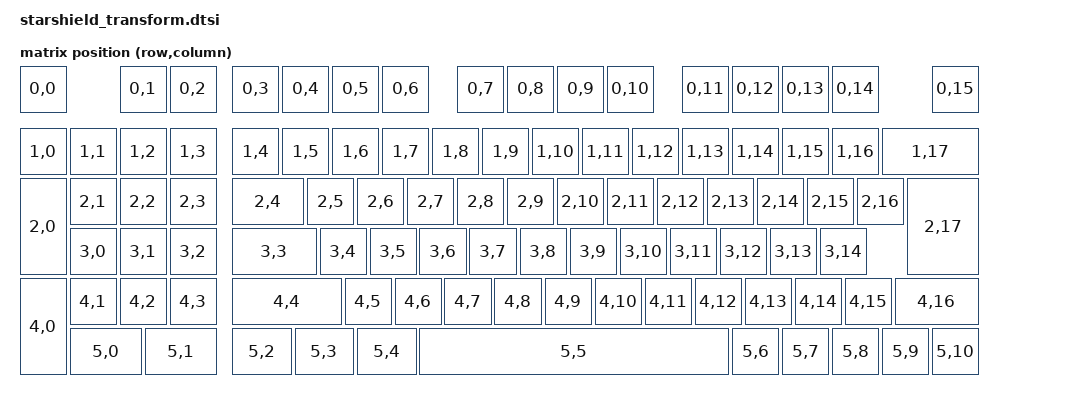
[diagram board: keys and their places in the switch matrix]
/*
 * StarShield 键位映射表 + 物理布局（自动生成，请勿手改）
 *
 * 生成源：docs/_generated/matrix.json
 * 生成脚本：docs/_tools/gen_transform.mjs
 * 说明文档：docs/matrix-assignment.md
 *
 * 位置号按【物理顺序】排列（KLE 的 y 从上到下，同一行内按开关中心 x 从左到右），
 * 因此 keymap 里第 0 个键就是键盘左上角那个键。
 *
 * 矩阵：6 行 × 18 列，键数 95
 *
 * ⚠️ 采用 ZMK 的 physical-layout 模型（官方 physical-layouts.md）：
 *    - physical_layout0 聚合 kscan + matrix transform + 可选按键物理位置
 *    - keys 属性（centi-keyunit）是 ZMK Studio 支持所必需的
 *    旧式 chosen { zmk,matrix-transform = ... } 已不再使用。
 */

#include <physical_layouts.dtsi>
#include <dt-bindings/zmk/matrix_transform.h>

/ {
    physical_layout0: physical_layout_0 {
        compatible = "zmk,physical-layout";
        display-name = "StarShield 95";

        /* 取 KLE 坐标 ×100 得 centi-keyunit；顺序与 keymap 绑定严格一致 */
        keys  //                  w    h     x     y   rot  rx  ry
            = <&key_physical_attrs 100 100   25    0     0   0   0>   /*  0 Esc */
            , <&key_physical_attrs 100 100  225    0     0   0   0>   /*  1 FN */
            , <&key_physical_attrs 100 100  325    0     0   0   0>   /*  2 Num Lock */
            , <&key_physical_attrs 100 100  450    0     0   0   0>   /*  3 F1 */
            , <&key_physical_attrs 100 100  550    0     0   0   0>   /*  4 F2 */
            , <&key_physical_attrs 100 100  650    0     0   0   0>   /*  5 F3 */
            , <&key_physical_attrs 100 100  750    0     0   0   0>   /*  6 F4 */
            , <&key_physical_attrs 100 100  900    0     0   0   0>   /*  7 F5 */
            , <&key_physical_attrs 100 100 1000    0     0   0   0>   /*  8 F6 */
            , <&key_physical_attrs 100 100 1100    0     0   0   0>   /*  9 F7 */
            , <&key_physical_attrs 100 100 1200    0     0   0   0>   /* 10 F8 */
            , <&key_physical_attrs 100 100 1350    0     0   0   0>   /* 11 F9 */
            , <&key_physical_attrs 100 100 1450    0     0   0   0>   /* 12 F10 */
            , <&key_physical_attrs 100 100 1550    0     0   0   0>   /* 13 F11 */
            , <&key_physical_attrs 100 100 1650    0     0   0   0>   /* 14 F12 */
            , <&key_physical_attrs 100 100 1850    0     0   0   0>   /* 15 Delete */
            , <&key_physical_attrs 100 100   25  125     0   0   0>   /* 16 / */
            , <&key_physical_attrs 100 100  125  125     0   0   0>   /* 17 * */
            , <&key_physical_attrs 100 100  225  125     0   0   0>   /* 18 - */
            , <&key_physical_attrs 100 100  325  125     0   0   0>   /* 19 + */
            , <&key_physical_attrs 100 100  450  125     0   0   0>   /* 20 ~/` */
            , <&key_physical_attrs 100 100  550  125     0   0   0>   /* 21 !/1 */
            , <&key_physical_attrs 100 100  650  125     0   0   0>   /* 22 @/2 */
            , <&key_physical_attrs 100 100  750  125     0   0   0>   /* 23 #/3 */
            , <&key_physical_attrs 100 100  850  125     0   0   0>   /* 24 $/4 */
            , <&key_physical_attrs 100 100  950  125     0   0   0>   /* 25 %/5 */
            , <&key_physical_attrs 100 100 1050  125     0   0   0>   /* 26 ^/6 */
            , <&key_physical_attrs 100 100 1150  125     0   0   0>   /* 27 &/7 */
            , <&key_physical_attrs 100 100 1250  125     0   0   0>   /* 28 * /8 */
            , <&key_physical_attrs 100 100 1350  125     0   0   0>   /* 29 (/9 */
            , <&key_physical_attrs 100 100 1450  125     0   0   0>   /* 30 )/0 */
            , <&key_physical_attrs 100 100 1550  125     0   0   0>   /* 31 _/- */
            , <&key_physical_attrs 100 100 1650  125     0   0   0>   /* 32 +/= */
            , <&key_physical_attrs 200 100 1750  125     0   0   0>   /* 33 Back Space */
            , <&key_physical_attrs 100 200   25  225     0   0   0>   /* 34 Delete */
            , <&key_physical_attrs 100 100  125  225     0   0   0>   /* 35 7/Home */
            , <&key_physical_attrs 100 100  225  225     0   0   0>   /* 36 8/↑ */
            , <&key_physical_attrs 100 100  325  225     0   0   0>   /* 37 9/PgUp */
            , <&key_physical_attrs 150 100  450  225     0   0   0>   /* 38 Tab */
            , <&key_physical_attrs 100 100  600  225     0   0   0>   /* 39 Q */
            , <&key_physical_attrs 100 100  700  225     0   0   0>   /* 40 W */
            , <&key_physical_attrs 100 100  800  225     0   0   0>   /* 41 E */
            , <&key_physical_attrs 100 100  900  225     0   0   0>   /* 42 R */
            , <&key_physical_attrs 100 100 1000  225     0   0   0>   /* 43 T */
            , <&key_physical_attrs 100 100 1100  225     0   0   0>   /* 44 Y */
            , <&key_physical_attrs 100 100 1200  225     0   0   0>   /* 45 U */
            , <&key_physical_attrs 100 100 1300  225     0   0   0>   /* 46 I */
            , <&key_physical_attrs 100 100 1400  225     0   0   0>   /* 47 O */
            , <&key_physical_attrs 100 100 1500  225     0   0   0>   /* 48 P */
            , <&key_physical_attrs 100 100 1600  225     0   0   0>   /* 49 {/[ */
            , <&key_physical_attrs 100 100 1700  225     0   0   0>   /* 50 }/] */
            , <&key_physical_attrs 150 200 1800  225     0   0   0>   /* 51 Enter */
            , <&key_physical_attrs 100 100  125  325     0   0   0>   /* 52 4/← */
            , <&key_physical_attrs 100 100  225  325     0   0   0>   /* 53 5 */
            , <&key_physical_attrs 100 100  325  325     0   0   0>   /* 54 6/→ */
            , <&key_physical_attrs 175 100  450  325     0   0   0>   /* 55 Caps Lock */
            , <&key_physical_attrs 100 100  625  325     0   0   0>   /* 56 A */
            , <&key_physical_attrs 100 100  725  325     0   0   0>   /* 57 S */
            , <&key_physical_attrs 100 100  825  325     0   0   0>   /* 58 D */
            , <&key_physical_attrs 100 100  925  325     0   0   0>   /* 59 F */
            , <&key_physical_attrs 100 100 1025  325     0   0   0>   /* 60 G */
            , <&key_physical_attrs 100 100 1125  325     0   0   0>   /* 61 H */
            , <&key_physical_attrs 100 100 1225  325     0   0   0>   /* 62 J */
            , <&key_physical_attrs 100 100 1325  325     0   0   0>   /* 63 K */
            , <&key_physical_attrs 100 100 1425  325     0   0   0>   /* 64 L */
            , <&key_physical_attrs 100 100 1525  325     0   0   0>   /* 65 :/; */
            , <&key_physical_attrs 100 100 1625  325     0   0   0>   /* 66 "/' */
            , <&key_physical_attrs 100 200   25  425     0   0   0>   /* 67 Enter */
            , <&key_physical_attrs 100 100  125  425     0   0   0>   /* 68 1/End */
            , <&key_physical_attrs 100 100  225  425     0   0   0>   /* 69 2/↓ */
            , <&key_physical_attrs 100 100  325  425     0   0   0>   /* 70 3/PgDn */
            , <&key_physical_attrs 225 100  450  425     0   0   0>   /* 71 Shift */
            , <&key_physical_attrs 100 100  675  425     0   0   0>   /* 72 Z */
            , <&key_physical_attrs 100 100  775  425     0   0   0>   /* 73 X */
            , <&key_physical_attrs 100 100  875  425     0   0   0>   /* 74 C */
            , <&key_physical_attrs 100 100  975  425     0   0   0>   /* 75 V */
            , <&key_physical_attrs 100 100 1075  425     0   0   0>   /* 76 B */
            , <&key_physical_attrs 100 100 1175  425     0   0   0>   /* 77 N */
            , <&key_physical_attrs 100 100 1275  425     0   0   0>   /* 78 M */
            , <&key_physical_attrs 100 100 1375  425     0   0   0>   /* 79 </, */
            , <&key_physical_attrs 100 100 1475  425     0   0   0>   /* 80 >/. */
            , <&key_physical_attrs 100 100 1575  425     0   0   0>   /* 81 ?// */
            , <&key_physical_attrs 100 100 1675  425     0   0   0>   /* 82 ↑ */
            , <&key_physical_attrs 175 100 1775  425     0   0   0>   /* 83 Shift */
            , <&key_physical_attrs 150 100  125  525     0   0   0>   /* 84 0/Ins */
            , <&key_physical_attrs 150 100  275  525     0   0   0>   /* 85 ./Del */
            , <&key_physical_attrs 125 100  450  525     0   0   0>   /* 86 Ctrl */
            , <&key_physical_attrs 125 100  575  525     0   0   0>   /* 87 Win */
            , <&key_physical_attrs 125 100  700  525     0   0   0>   /* 88 Alt */
            , <&key_physical_attrs 625 100  825  525     0   0   0>   /* 89 Space */
            , <&key_physical_attrs 100 100 1450  525     0   0   0>   /* 90 |/\ */
            , <&key_physical_attrs 100 100 1550  525     0   0   0>   /* 91 ← */
            , <&key_physical_attrs 100 100 1650  525     0   0   0>   /* 92 ↓ */
            , <&key_physical_attrs 100 100 1750  525     0   0   0>   /* 93 → */
            , <&key_physical_attrs 100 100 1850  525     0   0   0>   /* 94 Ctrl */
            ;
    };
};

&physical_layout0 {
    transform = <&default_transform>;
};

/ {
    /*
     * 矩阵转换表：位置号 -> 矩阵格 (行, 列)。
     * 宏 RC(row, col) 来自 <dt-bindings/zmk/matrix_transform.h>。
     *
     * ⚠️ 必须用「节点定义」形式（label: node { ... }）而不是 &label { ... }：
     *    后者是 fragment 覆写，对【尚未定义】的新标签无效。
     */
    default_transform: keymap_transform_0 {
        compatible = "zmk,matrix-transform";
        columns = <18>;
        rows = <6>;
        map = <
            RC(0, 0)  RC(0, 1)  RC(0, 2)  RC(0, 3)  RC(0, 4)  RC(0, 5)   /*  0- 5  Esc | FN | Num Lock | F1 | F2 | F3 */
            RC(0, 6)  RC(0, 7)  RC(0, 8)  RC(0, 9)  RC(0,10)  RC(0,11)   /*  6-11  F4 | F5 | F6 | F7 | F8 | F9 */
            RC(0,12)  RC(0,13)  RC(0,14)  RC(0,15)  RC(1, 0)  RC(1, 1)   /* 12-17  F10 | F11 | F12 | Delete | / | * */
            RC(1, 2)  RC(1, 3)  RC(1, 4)  RC(1, 5)  RC(1, 6)  RC(1, 7)   /* 18-23  - | + | ~/` | !/1 | @/2 | #/3 */
            RC(1, 8)  RC(1, 9)  RC(1,10)  RC(1,11)  RC(1,12)  RC(1,13)   /* 24-29  $/4 | %/5 | ^/6 | &/7 | * /8 | (/9 */
            RC(1,14)  RC(1,15)  RC(1,16)  RC(1,17)  RC(2, 0)  RC(2, 1)   /* 30-35  )/0 | _/- | +/= | Back Space | Delete | 7/Home */
            RC(2, 2)  RC(2, 3)  RC(2, 4)  RC(2, 5)  RC(2, 6)  RC(2, 7)   /* 36-41  8/↑ | 9/PgUp | Tab | Q | W | E */
            RC(2, 8)  RC(2, 9)  RC(2,10)  RC(2,11)  RC(2,12)  RC(2,13)   /* 42-47  R | T | Y | U | I | O */
            RC(2,14)  RC(2,15)  RC(2,16)  RC(2,17)  RC(3, 0)  RC(3, 1)   /* 48-53  P | {/[ | }/] | Enter | 4/← | 5 */
            RC(3, 2)  RC(3, 3)  RC(3, 4)  RC(3, 5)  RC(3, 6)  RC(3, 7)   /* 54-59  6/→ | Caps Lock | A | S | D | F */
            RC(3, 8)  RC(3, 9)  RC(3,10)  RC(3,11)  RC(3,12)  RC(3,13)   /* 60-65  G | H | J | K | L | :/; */
            RC(3,14)  RC(4, 0)  RC(4, 1)  RC(4, 2)  RC(4, 3)  RC(4, 4)   /* 66-71  "/' | Enter | 1/End | 2/↓ | 3/PgDn | Shift */
            RC(4, 5)  RC(4, 6)  RC(4, 7)  RC(4, 8)  RC(4, 9)  RC(4,10)   /* 72-77  Z | X | C | V | B | N */
            RC(4,11)  RC(4,12)  RC(4,13)  RC(4,14)  RC(4,15)  RC(4,16)   /* 78-83  M | </, | >/. | ?// | ↑ | Shift */
            RC(5, 0)  RC(5, 1)  RC(5, 2)  RC(5, 3)  RC(5, 4)  RC(5, 5)   /* 84-89  0/Ins | ./Del | Ctrl | Win | Alt | Space */
            RC(5, 6)  RC(5, 7)  RC(5, 8)  RC(5, 9)  RC(5,10)   /* 90-94  |/\ | ← | ↓ | → | Ctrl */
        >;
    };
};

/* 完整对照：位置号 → (行, 列) → 键位
 *    0  RC(0,  0)  Esc   [x=0.750u y=0u]
 *    1  RC(0,  1)  FN   [x=2.750u y=0u]
 *    2  RC(0,  2)  Num Lock   [x=3.750u y=0u]
 *    3  RC(0,  3)  F1   [x=5.000u y=0u]
 *    4  RC(0,  4)  F2   [x=6.000u y=0u]
 *    5  RC(0,  5)  F3   [x=7.000u y=0u]
 *    6  RC(0,  6)  F4   [x=8.000u y=0u]
 *    7  RC(0,  7)  F5   [x=9.500u y=0u]
 *    8  RC(0,  8)  F6   [x=10.500u y=0u]
 *    9  RC(0,  9)  F7   [x=11.500u y=0u]
 *   10  RC(0, 10)  F8   [x=12.500u y=0u]
 *   11  RC(0, 11)  F9   [x=14.000u y=0u]
 *   12  RC(0, 12)  F10   [x=15.000u y=0u]
 *   13  RC(0, 13)  F11   [x=16.000u y=0u]
 *   14  RC(0, 14)  F12   [x=17.000u y=0u]
 *   15  RC(0, 15)  Delete   [x=19.000u y=0u]
 *   16  RC(1,  0)  /   [x=0.750u y=1.25u]
 *   17  RC(1,  1)  *   [x=1.750u y=1.25u]
 *   18  RC(1,  2)  -   [x=2.750u y=1.25u]
 *   19  RC(1,  3)  +   [x=3.750u y=1.25u]
 *   20  RC(1,  4)  ~/`   [x=5.000u y=1.25u]
 *   21  RC(1,  5)  !/1   [x=6.000u y=1.25u]
 *   22  RC(1,  6)  @/2   [x=7.000u y=1.25u]
 *   23  RC(1,  7)  #/3   [x=8.000u y=1.25u]
 *   24  RC(1,  8)  $/4   [x=9.000u y=1.25u]
 *   25  RC(1,  9)  %/5   [x=10.000u y=1.25u]
 *   26  RC(1, 10)  ^/6   [x=11.000u y=1.25u]
 *   27  RC(1, 11)  &/7   [x=12.000u y=1.25u]
 *   28  RC(1, 12)  * /8   [x=13.000u y=1.25u]
 *   29  RC(1, 13)  (/9   [x=14.000u y=1.25u]
 *   30  RC(1, 14)  )/0   [x=15.000u y=1.25u]
 *   31  RC(1, 15)  _/-   [x=16.000u y=1.25u]
 *   32  RC(1, 16)  +/=   [x=17.000u y=1.25u]
 *   33  RC(1, 17)  Back Space   [x=18.500u y=1.25u]
 *   34  RC(2,  0)  Delete   [x=0.750u y=2.25u]
 *   35  RC(2,  1)  7/Home   [x=1.750u y=2.25u]
 *   36  RC(2,  2)  8/↑   [x=2.750u y=2.25u]
 *   37  RC(2,  3)  9/PgUp   [x=3.750u y=2.25u]
 *   38  RC(2,  4)  Tab   [x=5.250u y=2.25u]
 *   39  RC(2,  5)  Q   [x=6.500u y=2.25u]
 *   40  RC(2,  6)  W   [x=7.500u y=2.25u]
 *   41  RC(2,  7)  E   [x=8.500u y=2.25u]
 *   42  RC(2,  8)  R   [x=9.500u y=2.25u]
 *   43  RC(2,  9)  T   [x=10.500u y=2.25u]
 *   44  RC(2, 10)  Y   [x=11.500u y=2.25u]
 *   45  RC(2, 11)  U   [x=12.500u y=2.25u]
 *   46  RC(2, 12)  I   [x=13.500u y=2.25u]
 *   47  RC(2, 13)  O   [x=14.500u y=2.25u]
 *   48  RC(2, 14)  P   [x=15.500u y=2.25u]
 *   49  RC(2, 15)  {/[   [x=16.500u y=2.25u]
 *   50  RC(2, 16)  }/]   [x=17.500u y=2.25u]
 *   51  RC(2, 17)  Enter   [x=18.750u y=2.25u]
 *   52  RC(3,  0)  4/←   [x=1.750u y=3.25u]
 *   53  RC(3,  1)  5   [x=2.750u y=3.25u]
 *   54  RC(3,  2)  6/→   [x=3.750u y=3.25u]
 *   55  RC(3,  3)  Caps Lock   [x=5.380u y=3.25u]
 *   56  RC(3,  4)  A   [x=6.750u y=3.25u]
 *   57  RC(3,  5)  S   [x=7.750u y=3.25u]
 *   58  RC(3,  6)  D   [x=8.750u y=3.25u]
 *   59  RC(3,  7)  F   [x=9.750u y=3.25u]
 *   60  RC(3,  8)  G   [x=10.750u y=3.25u]
 *   61  RC(3,  9)  H   [x=11.750u y=3.25u]
 *   62  RC(3, 10)  J   [x=12.750u y=3.25u]
 *   63  RC(3, 11)  K   [x=13.750u y=3.25u]
 *   64  RC(3, 12)  L   [x=14.750u y=3.25u]
 *   65  RC(3, 13)  :/;   [x=15.750u y=3.25u]
 *   66  RC(3, 14)  "/'   [x=16.750u y=3.25u]
 *   67  RC(4,  0)  Enter   [x=0.750u y=4.25u]
 *   68  RC(4,  1)  1/End   [x=1.750u y=4.25u]
 *   69  RC(4,  2)  2/↓   [x=2.750u y=4.25u]
 *   70  RC(4,  3)  3/PgDn   [x=3.750u y=4.25u]
 *   71  RC(4,  4)  Shift   [x=5.630u y=4.25u]
 *   72  RC(4,  5)  Z   [x=7.250u y=4.25u]
 *   73  RC(4,  6)  X   [x=8.250u y=4.25u]
 *   74  RC(4,  7)  C   [x=9.250u y=4.25u]
 *   75  RC(4,  8)  V   [x=10.250u y=4.25u]
 *   76  RC(4,  9)  B   [x=11.250u y=4.25u]
 *   77  RC(4, 10)  N   [x=12.250u y=4.25u]
 *   78  RC(4, 11)  M   [x=13.250u y=4.25u]
 *   79  RC(4, 12)  </,   [x=14.250u y=4.25u]
 *   80  RC(4, 13)  >/.   [x=15.250u y=4.25u]
 *   81  RC(4, 14)  ?//   [x=16.250u y=4.25u]
 *   82  RC(4, 15)  ↑   [x=17.250u y=4.25u]
 *   83  RC(4, 16)  Shift   [x=18.630u y=4.25u]
 *   84  RC(5,  0)  0/Ins   [x=2.000u y=5.25u]
 *   85  RC(5,  1)  ./Del   [x=3.500u y=5.25u]
 *   86  RC(5,  2)  Ctrl   [x=5.130u y=5.25u]
 *   87  RC(5,  3)  Win   [x=6.380u y=5.25u]
 *   88  RC(5,  4)  Alt   [x=7.630u y=5.25u]
 *   89  RC(5,  5)  Space   [x=11.380u y=5.25u]
 *   90  RC(5,  6)  |/\   [x=15.000u y=5.25u]
 *   91  RC(5,  7)  ←   [x=16.000u y=5.25u]
 *   92  RC(5,  8)  ↓   [x=17.000u y=5.25u]
 *   93  RC(5,  9)  →   [x=18.000u y=5.25u]
 *   94  RC(5, 10)  Ctrl   [x=19.000u y=5.25u]
 */
